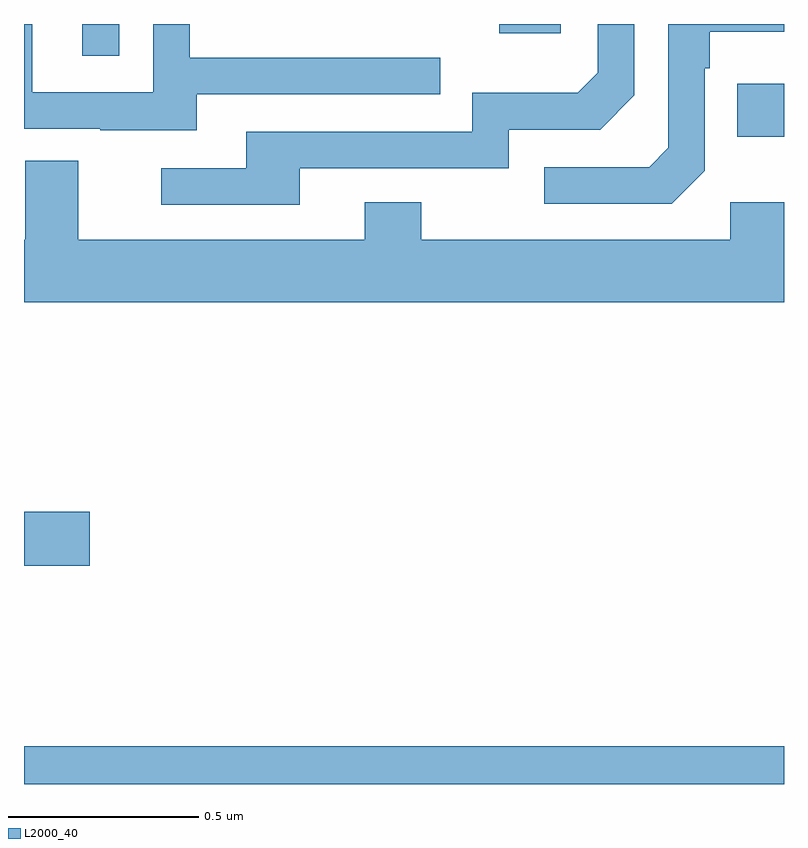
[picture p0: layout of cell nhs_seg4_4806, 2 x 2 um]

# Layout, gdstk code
import gdstk
lib = gdstk.Library(unit=1e-6, precision=1e-09)
def R(c, l, rs):  # rectangles x0, y0, x1, y1
    for r in rs: c.add(gdstk.rectangle(r[:2], r[2:], *l))
def P(c, l, *ps):  # polygons
    for p in ps: c.add(gdstk.Polygon(p, *l))
L2000_40 = (2000, 40)

nhs_seg4_4806 = lib.new_cell('nhs_seg4_4806')
R(nhs_seg4_4806, L2000_40, [(170,780.9,172,781), (170,781.474,170.173,781.616), (171.877,782.603,172,782.743), (170.153,782.817,170.25,782.9), (171.251,782.876,171.412,782.9)])
P(nhs_seg4_4806, L2000_40, [(171.792,782.514),(171.792,782.783),(171.805,782.783),(171.805,782.879),(172,782.879),(172,782.9),(171.696,782.9),(171.696,782.574),(171.645,782.523),(171.369,782.523),(171.369,782.427),(171.705,782.427)],
  [(170.725,782.52),(171.276,782.52),(171.276,782.622),(171.516,782.622),(171.606,782.712),(171.606,782.9),(171.51,782.9),(171.51,782.772),(171.457,782.719),(171.18,782.719),(171.18,782.616),(170.585,782.616),(170.585,782.52),(170.361,782.52),(170.361,782.424),(170.725,782.424)],
  [(170.455,782.715),(171.095,782.715),(171.095,782.811),(170.436,782.811),(170.436,782.9),(170.34,782.9),(170.34,782.721),(170.022,782.721),(170.022,782.9),(170,782.9),(170,782.625),(170.201,782.625),(170.201,782.621),(170.455,782.621)],
  [(172,782.431),(171.858,782.431),(171.858,782.332),(171.045,782.332),(171.045,782.431),(170.897,782.431),(170.897,782.332),(170.143,782.332),(170.143,782.54),(170.003,782.54),(170.003,782.332),(170,782.332),(170,782.168),(172,782.168)])

lib.write_gds('nhs_seg4_4806.gds')
